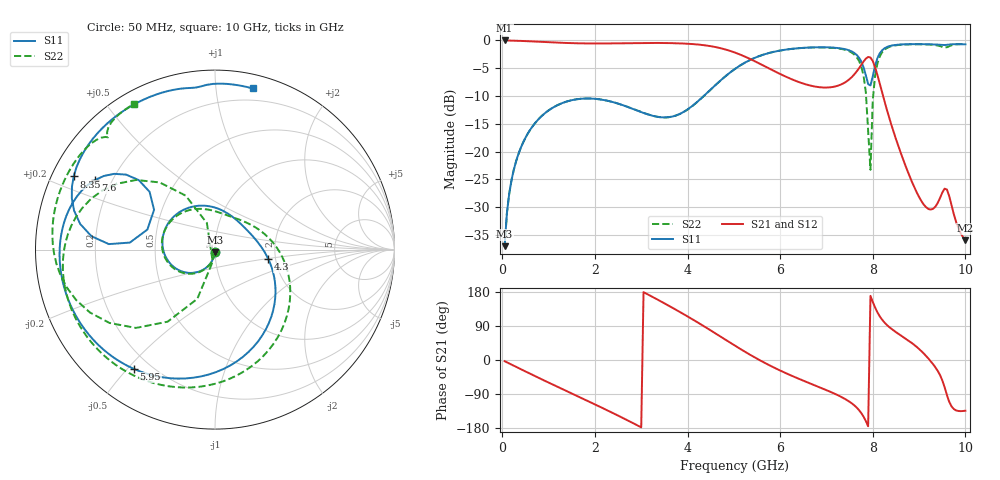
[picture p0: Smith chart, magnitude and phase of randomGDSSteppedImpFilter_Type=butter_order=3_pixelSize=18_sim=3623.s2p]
! freq	dB(S11)	phase(S11)	dB(S12)	phase(S12)
!  dB(S21)	phase(S21)	dB(S22)	phase(S22)
!S-par simulation data
#  GHz  S  DB  R 50
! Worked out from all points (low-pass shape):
!   200 points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, 50 MHz to 10 GHz, reference 50 ohm
!   highest |S21| = -0.01 dB at 50 MHz (marker M1); lowest = -36.0 dB at 10 GHz (marker M2)
!   |S21| within 3 dB of the highest: start of sweep to 5.265 GHz; 7.894609 GHz to 7.914971 GHz (20.36 MHz wide, 0.258 % of centre)
!   lowest |S11| = -37.0 dB at 50 MHz (marker M3), VSWR 1.03, Z = 49.9 - j1.4 ohm
!   |S11| at or under -10 dB: start of sweep to 4.35 GHz
!   |S22| runs from -37.0 to -0.6 dB; largest |S21 - S12| = 0
!   S11 on the Smith chart (normalised r, x): 50 MHz: 1.00, -0.03; 4.3 GHz: 1.83, -0.22; 5.95 GHz: 0.14, -0.52; 7.6 GHz: 0.14, +0.27; 8.35 GHz: 0.06, +0.24; 10 GHz: 0.10, +1.25
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0.05  -37.03 -92.8  -0.01 -3.1  -0.01 -3.1  -37.03 -92.7
0.2  -25.11 -102.5  -0.03 -12.2  -0.03 -12.2  -25.11 -102.0
0.5  -17.52 -121.3  -0.12 -30.2  -0.12 -30.2  -17.52 -120.1
1.15  -11.82 -160.4  -0.38 -68.3  -0.38 -68.3  -11.82 -157.3
1.75  -10.47 164.1  -0.54 -102.7  -0.54 -102.7  -10.47 169.5
2.7  -11.94 104.4  -0.49 -158.9  -0.49 -158.9  -11.94 117.0
3.4  -13.81 54.6  -0.46 156.3  -0.46 156.3  -13.80 76.9
4.3  -10.39 -10.3  -0.80 93.2  -0.80 93.2  -10.42 13.7
5.05  -4.98 -64.7  -2.27 35.9  -2.27 35.9  -4.99 -46.5
5.95  -1.90 -124.2  -5.84 -24.9  -5.84 -24.9  -1.90 -108.7
6.7  -1.26 -163.6  -8.22 -64.5  -8.22 -64.5  -1.27 -148.5
7.25  -1.37 169.7  -8.14 -93.2  -8.14 -93.2  -1.43 -176.6
7.6  -2.25 149.8  -6.12 -119.6  -6.12 -119.6  -2.53 157.9
7.8  -4.80 137.6  -3.81 -149.3  -3.81 -149.3  -6.29 129.5
7.95  -8.11 163.5  -3.08 169.4  -3.08 169.4  -23.27 -100.8
8  -6.45 175.3  -3.71 153.4  -3.71 153.4  -10.71 -109.7
8.05  -4.55 177.0  -4.81 138.6  -4.81 138.6  -6.37 -123.3
8.2  -1.78 164.5  -9.33 106.6  -9.33 106.6  -2.16 -153.3
8.35  -1.05 152.6  -13.79 87.5  -13.79 87.5  -1.19 -170.6
9.05  -0.67 117.0  -28.90 23.4  -28.90 23.4  -0.70 151.0
9.6  -0.79 94.9  -26.83 -92.0  -26.83 -92.0  -1.23 133.5
10  -0.70 76.9  -35.99 -133.8  -35.99 -133.8  -0.65 119.2
